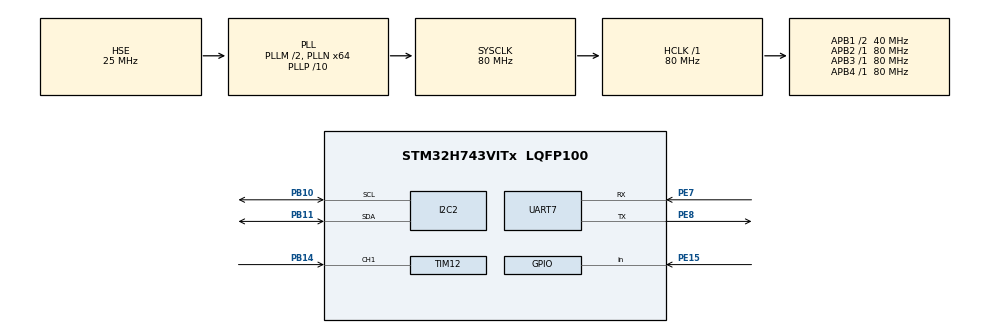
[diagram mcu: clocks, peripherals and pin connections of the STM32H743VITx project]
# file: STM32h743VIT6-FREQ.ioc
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I2C2.Timing=0x00909BEB
Mcu.Family=STM32H7
Mcu.Name=STM32H743VITx
Mcu.Package=LQFP100
NVIC.PriorityGroup=NVIC_PRIORITYGROUP_4
NVIC.TIM8_BRK_TIM12_IRQn=true\:0\:0\:false\:false\:true\:true\:true\:true
PB10.Mode=I2C
PB10.Signal=I2C2_SCL
PB11.Mode=I2C
PB11.Signal=I2C2_SDA
PB14.Signal=S_TIM12_CH1
PC14-OSC32_IN\ (OSC32_IN).Mode=LSE-External-Oscillator
PC14-OSC32_IN\ (OSC32_IN).Signal=RCC_OSC32_IN
PC15-OSC32_OUT\ (OSC32_OUT).Mode=LSE-External-Oscillator
PC15-OSC32_OUT\ (OSC32_OUT).Signal=RCC_OSC32_OUT
PE15.Signal=GPIO_Input
PE7.Mode=Asynchronous
PE7.Signal=UART7_RX
PE8.Mode=Asynchronous
PE8.Signal=UART7_TX
PH0-OSC_IN\ (PH0).Mode=HSE-External-Oscillator
PH0-OSC_IN\ (PH0).Signal=RCC_OSC_IN
PH1-OSC_OUT\ (PH1).Mode=HSE-External-Oscillator
PH1-OSC_OUT\ (PH1).Signal=RCC_OSC_OUT
ProjectManager.HeapSize=0x200
ProjectManager.StackSize=0x400
ProjectManager.TargetToolchain=STM32CubeIDE
RCC.ADCFreq_Value=50390625
RCC.APB1Freq_Value=40000000
RCC.APB2Freq_Value=80000000
RCC.APB3Freq_Value=80000000
RCC.APB4Freq_Value=80000000
RCC.CortexFreq_Value=80000000
RCC.D2PPRE1=RCC_APB1_DIV2
RCC.DIVM1=2
RCC.DIVN1=64
RCC.DIVP1=10
RCC.HCLKFreq_Value=80000000
RCC.HSE_VALUE=25000000
RCC.PLL2FRACN=0
RCC.PLL3FRACN=0
RCC.PLLFRACN=0
RCC.PLLSourceVirtual=RCC_PLLSOURCE_HSE
RCC.SYSCLKFreq_VALUE=80000000
RCC.SYSCLKSource=RCC_SYSCLKSOURCE_PLLCLK
RCC.USBFreq_Value=400000000
SH.S_TIM12_CH1.0=TIM12_CH1,Input_Capture1_from_TI1
TIM12.Channel-Input_Capture1_from_TI1=TIM_CHANNEL_1
TIM12.Prescaler=40-1
VP_TIM12_VS_ClockSourceINT.Mode=Internal
board=custom

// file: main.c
/* USER CODE BEGIN Header */
/**
  ******************************************************************************
  * @file           : main.c
  * @brief          : Main program body
  ******************************************************************************
  * @attention
  *
  * Copyright (c) 2022 STMicroelectronics.
  * All rights reserved.
  *
  * This software is licensed under terms that can be found in the LICENSE file
  * in the root directory of this software component.
  * If no LICENSE file comes with this software, it is provided AS-IS.
  *
  ******************************************************************************
  */
/* USER CODE END Header */
#include "main.h"

I2C_HandleTypeDef hi2c2;

TIM_HandleTypeDef htim12;

UART_HandleTypeDef huart7;

void SystemClock_Config(void);
static void MX_GPIO_Init(void);
static void MX_I2C2_Init(void);
static void MX_UART7_Init(void);
static void MX_TIM12_Init(void);

/* USER CODE BEGIN 0 */

#define TIMCLOCK   40000000
#define PRESCALAR  40

uint32_t IC_Val1 = 0;
uint32_t IC_Val2 = 0;
uint32_t Difference = 0;
int Is_First_Captured = 0;
int print_one_time = 0;

/* Measure Frequency */
float frequency = 0;
void HAL_TIM_IC_CaptureCallback(TIM_HandleTypeDef *htim)
{
	if (htim->Channel == HAL_TIM_ACTIVE_CHANNEL_1)
	{
		if (Is_First_Captured==0) // if the first rising edge is not captured
		{
			IC_Val1 = HAL_TIM_ReadCapturedValue(htim, TIM_CHANNEL_1); // read the first value
			Is_First_Captured = 1;  // set the first captured as true
		}

		else   // If the first rising edge is captured, now we will capture the second edge
		{
			IC_Val2 = HAL_TIM_ReadCapturedValue(htim, TIM_CHANNEL_1);  // read second value

			if (IC_Val2 > IC_Val1)
			{
				Difference = IC_Val2-IC_Val1;
			}

			else if (IC_Val1 > IC_Val2)
			{
				Difference = (0xffffffff - IC_Val1) + IC_Val2;
			}

			float refClock = TIMCLOCK/(PRESCALAR);

			frequency = refClock/Difference;

			if(!print_one_time)					// for now, we only want it to be printed one time
			{
				uint8_t tx[100];
				snprintf(tx,100,"Frequency = %f\r\n", frequency);
				HAL_UART_Transmit(&huart7,tx, sizeof(tx), 1000);
				print_one_time = 1;
			}

			__HAL_TIM_SET_COUNTER(htim, 0);  // reset the counter
			Is_First_Captured = 0; // set it back to false

		}
	}
}
/* USER CODE END 0 */

int main(void)
{

  /* MCU Configuration--------------------------------------------------------*/

  /* Reset of all peripherals, Initializes the Flash interface and the Systick. */
  HAL_Init();

  /* Configure the system clock */
  SystemClock_Config();

  /* Initialize all configured peripherals */
  MX_GPIO_Init();
  MX_I2C2_Init();
  MX_UART7_Init();
  MX_TIM12_Init();
  /* USER CODE BEGIN 2 */
  uint8_t tx[2];
  uint8_t fail[100];
  int ret;

  	  ////// SET MFP PIN FREQUENCY AT CRISTAL FREQUENCY

	tx[0] = 0x00;			// RTCSEC register
	tx[1] = 0b10000000;		// RTCSEC[7] = ST bit = 1

	ret = HAL_I2C_Master_Transmit(&hi2c2, 0x6F << 1, tx, 2, 10000);
	if (ret != 0) {
		snprintf(fail, sizeof(fail),"TEST FAIL : couldn't set RTCSEC register value (ERROR %d).",ret);
		HAL_UART_Transmit(&huart7, fail, sizeof(fail), 10000);
	}

	tx[0] = 0x07;			// CONRTOL register
	tx[1] = 0b11000111;		// CONTROL[7] = OUT bit = 1, CONTROL[6] = SQWEN bit = 1, CONTROL[2] = CRSTRIM bit = 1, CONTROL[1:0] = SQWFS bits = 1

	ret = HAL_I2C_Master_Transmit(&hi2c2, 0x6F << 1, tx, 2, 10000);
	if (ret != 0) {
		snprintf(fail, sizeof(fail),"TEST FAIL : couldn't set CONRTOL register value (ERROR %d).",ret);
		HAL_UART_Transmit(&huart7, fail, sizeof(fail), 10000);
	}

	tx[0] = 0x08;			// OSCTRIM register
	tx[1] = 0b01111111;		// OSCTRIM[6:0] = TRIMVAL bits = 1

	ret = HAL_I2C_Master_Transmit(&hi2c2, 0x6F << 1, tx, 2, 10000);
	if (ret != 0) {
		snprintf(fail, sizeof(fail),"TEST FAIL : couldn't set OSCTRIM register value (ERROR %d).",ret);
		HAL_UART_Transmit(&huart7, fail, sizeof(fail), 10000);
	}

	////// START READ OUTPUT FREQUENCY
	HAL_TIM_IC_Start_IT(&htim12, TIM_CHANNEL_1);

  /* USER CODE END 2 */

  /* Infinite loop */
  while (1)
  {

  }
}

void SystemClock_Config(void)
{
  RCC_OscInitTypeDef RCC_OscInitStruct = {0};
  RCC_ClkInitTypeDef RCC_ClkInitStruct = {0};

  /** Supply configuration update enable
  */
  HAL_PWREx_ConfigSupply(PWR_LDO_SUPPLY);

  /** Configure the main internal regulator output voltage
  */
  __HAL_PWR_VOLTAGESCALING_CONFIG(PWR_REGULATOR_VOLTAGE_SCALE3);

  //while(!__HAL_PWR_GET_FLAG(PWR_FLAG_VOSRDY)) {}

  /** Initializes the RCC Oscillators according to the specified parameters
  * in the RCC_OscInitTypeDef structure.
  */
  RCC_OscInitStruct.OscillatorType = RCC_OSCILLATORTYPE_HSE;
  RCC_OscInitStruct.HSEState = RCC_HSE_ON;
  RCC_OscInitStruct.PLL.PLLState = RCC_PLL_ON;
  RCC_OscInitStruct.PLL.PLLSource = RCC_PLLSOURCE_HSE;
  RCC_OscInitStruct.PLL.PLLM = 2;
  RCC_OscInitStruct.PLL.PLLN = 64;
  RCC_OscInitStruct.PLL.PLLP = 10;
  RCC_OscInitStruct.PLL.PLLQ = 2;
  RCC_OscInitStruct.PLL.PLLR = 2;
  RCC_OscInitStruct.PLL.PLLRGE = RCC_PLL1VCIRANGE_3;
  RCC_OscInitStruct.PLL.PLLVCOSEL = RCC_PLL1VCOWIDE;
  RCC_OscInitStruct.PLL.PLLFRACN = 0;
  if (HAL_RCC_OscConfig(&RCC_OscInitStruct) != HAL_OK)
  {
    Error_Handler();
  }

  /** Initializes the CPU, AHB and APB buses clocks
  */
  RCC_ClkInitStruct.ClockType = RCC_CLOCKTYPE_HCLK|RCC_CLOCKTYPE_SYSCLK
                              |RCC_CLOCKTYPE_PCLK1|RCC_CLOCKTYPE_PCLK2
                              |RCC_CLOCKTYPE_D3PCLK1|RCC_CLOCKTYPE_D1PCLK1;
  RCC_ClkInitStruct.SYSCLKSource = RCC_SYSCLKSOURCE_PLLCLK;
  RCC_ClkInitStruct.SYSCLKDivider = RCC_SYSCLK_DIV1;
  RCC_ClkInitStruct.AHBCLKDivider = RCC_HCLK_DIV1;
  RCC_ClkInitStruct.APB3CLKDivider = RCC_APB3_DIV1;
  RCC_ClkInitStruct.APB1CLKDivider = RCC_APB1_DIV2;
  RCC_ClkInitStruct.APB2CLKDivider = RCC_APB2_DIV1;
  RCC_ClkInitStruct.APB4CLKDivider = RCC_APB4_DIV1;

  if (HAL_RCC_ClockConfig(&RCC_ClkInitStruct, FLASH_LATENCY_1) != HAL_OK)
  {
    Error_Handler();
  }
}

static void MX_I2C2_Init(void)
{

  hi2c2.Instance = I2C2;
  hi2c2.Init.Timing = 0x00909BEB;
  hi2c2.Init.OwnAddress1 = 0;
  hi2c2.Init.AddressingMode = I2C_ADDRESSINGMODE_7BIT;
  hi2c2.Init.DualAddressMode = I2C_DUALADDRESS_DISABLE;
  hi2c2.Init.OwnAddress2 = 0;
  hi2c2.Init.OwnAddress2Masks = I2C_OA2_NOMASK;
  hi2c2.Init.GeneralCallMode = I2C_GENERALCALL_DISABLE;
  hi2c2.Init.NoStretchMode = I2C_NOSTRETCH_DISABLE;
  if (HAL_I2C_Init(&hi2c2) != HAL_OK)
  {
    Error_Handler();
  }

  /** Configure Analogue filter
  */
  if (HAL_I2CEx_ConfigAnalogFilter(&hi2c2, I2C_ANALOGFILTER_ENABLE) != HAL_OK)
  {
    Error_Handler();
  }

  /** Configure Digital filter
  */
  if (HAL_I2CEx_ConfigDigitalFilter(&hi2c2, 0) != HAL_OK)
  {
    Error_Handler();
  }

}

static void MX_TIM12_Init(void)
{

  TIM_ClockConfigTypeDef sClockSourceConfig = {0};
  TIM_IC_InitTypeDef sConfigIC = {0};

  htim12.Instance = TIM12;
  htim12.Init.Prescaler = 40-1;
  htim12.Init.CounterMode = TIM_COUNTERMODE_UP;
  htim12.Init.Period = 65535;
  htim12.Init.ClockDivision = TIM_CLOCKDIVISION_DIV1;
  htim12.Init.AutoReloadPreload = TIM_AUTORELOAD_PRELOAD_DISABLE;
  if (HAL_TIM_Base_Init(&htim12) != HAL_OK)
  {
    Error_Handler();
  }
  sClockSourceConfig.ClockSource = TIM_CLOCKSOURCE_INTERNAL;
  if (HAL_TIM_ConfigClockSource(&htim12, &sClockSourceConfig) != HAL_OK)
  {
    Error_Handler();
  }
  if (HAL_TIM_IC_Init(&htim12) != HAL_OK)
  {
    Error_Handler();
  }
  sConfigIC.ICPolarity = TIM_INPUTCHANNELPOLARITY_RISING;
  sConfigIC.ICSelection = TIM_ICSELECTION_DIRECTTI;
  sConfigIC.ICPrescaler = TIM_ICPSC_DIV1;
  sConfigIC.ICFilter = 0;
  if (HAL_TIM_IC_ConfigChannel(&htim12, &sConfigIC, TIM_CHANNEL_1) != HAL_OK)
  {
    Error_Handler();
  }

}

static void MX_UART7_Init(void)
{

  huart7.Instance = UART7;
  huart7.Init.BaudRate = 115200;
  huart7.Init.WordLength = UART_WORDLENGTH_8B;
  huart7.Init.StopBits = UART_STOPBITS_1;
  huart7.Init.Parity = UART_PARITY_NONE;
  huart7.Init.Mode = UART_MODE_TX_RX;
  huart7.Init.HwFlowCtl = UART_HWCONTROL_NONE;
  huart7.Init.OverSampling = UART_OVERSAMPLING_16;
  huart7.Init.OneBitSampling = UART_ONE_BIT_SAMPLE_DISABLE;
  huart7.Init.ClockPrescaler = UART_PRESCALER_DIV1;
  huart7.AdvancedInit.AdvFeatureInit = UART_ADVFEATURE_NO_INIT;
  if (HAL_UART_Init(&huart7) != HAL_OK)
  {
    Error_Handler();
  }
  if (HAL_UARTEx_SetTxFifoThreshold(&huart7, UART_TXFIFO_THRESHOLD_1_8) != HAL_OK)
  {
    Error_Handler();
  }
  if (HAL_UARTEx_SetRxFifoThreshold(&huart7, UART_RXFIFO_THRESHOLD_1_8) != HAL_OK)
  {
    Error_Handler();
  }
  if (HAL_UARTEx_DisableFifoMode(&huart7) != HAL_OK)
  {
    Error_Handler();
  }

}

static void MX_GPIO_Init(void)
{
  GPIO_InitTypeDef GPIO_InitStruct = {0};

  /* GPIO Ports Clock Enable */
  __HAL_RCC_GPIOC_CLK_ENABLE();
  __HAL_RCC_GPIOH_CLK_ENABLE();
  __HAL_RCC_GPIOE_CLK_ENABLE();
  __HAL_RCC_GPIOB_CLK_ENABLE();

  /*Configure GPIO pin : PE15 */
  GPIO_InitStruct.Pin = GPIO_PIN_15;
  GPIO_InitStruct.Mode = GPIO_MODE_INPUT;
  GPIO_InitStruct.Pull = GPIO_NOPULL;
  HAL_GPIO_Init(GPIOE, &GPIO_InitStruct);

}

void Error_Handler(void)
{
  __disable_irq();
  while (1)
  {
  }
}
